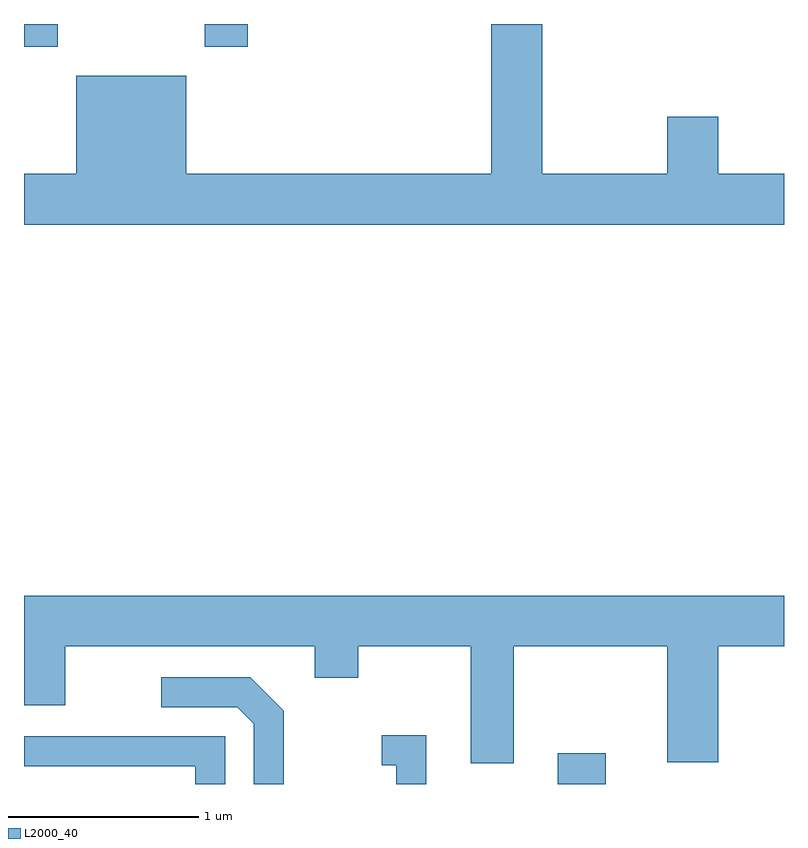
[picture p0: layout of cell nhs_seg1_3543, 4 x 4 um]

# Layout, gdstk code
import gdstk
lib = gdstk.Library(unit=1e-6, precision=1e-09)
def R(c, l, rs):  # rectangles x0, y0, x1, y1
    for r in rs: c.add(gdstk.rectangle(r[:2], r[2:], *l))
def P(c, l, *ps):  # polygons
    for p in ps: c.add(gdstk.Polygon(p, *l))
L2000_40 = (2000, 40)

nhs_seg1_3543 = lib.new_cell('nhs_seg1_3543')
R(nhs_seg1_3543, L2000_40, [(294.421,927.712,294.674,927.874), (291.611,931.591,291.789,931.712), (292.561,931.591,292.789,931.712)])
P(nhs_seg1_3543, L2000_40, [(295.611,930.924),(295.264,930.924),(295.264,931.224),(294.996,931.224),(294.996,930.924),(294.339,930.924),(294.339,931.712),(294.071,931.712),(294.071,930.924),(292.464,930.924),(292.464,931.439),(291.886,931.439),(291.886,930.924),(291.611,930.924),(291.611,930.656),(295.611,930.656)],
  [(294.189,928.436),(294.996,928.436),(294.996,927.826),(295.264,927.826),(295.264,928.436),(295.611,928.436),(295.611,928.704),(291.611,928.704),(291.611,928.126),(291.829,928.126),(291.829,928.436),(293.141,928.436),(293.141,928.271),(293.369,928.271),(293.369,928.436),(293.961,928.436),(293.961,927.821),(294.189,927.821)],
  [(292.979,928.097),(292.802,928.274),(292.333,928.274),(292.333,928.116),(292.734,928.116),(292.821,928.029),(292.821,927.712),(292.979,927.712)],
  [(293.729,927.969),(293.493,927.969),(293.493,927.811),(293.571,927.811),(293.571,927.712),(293.729,927.712)],
  [(292.669,927.964),(291.611,927.964),(291.611,927.806),(292.511,927.806),(292.511,927.712),(292.669,927.712)])

lib.write_gds('nhs_seg1_3543.gds')
